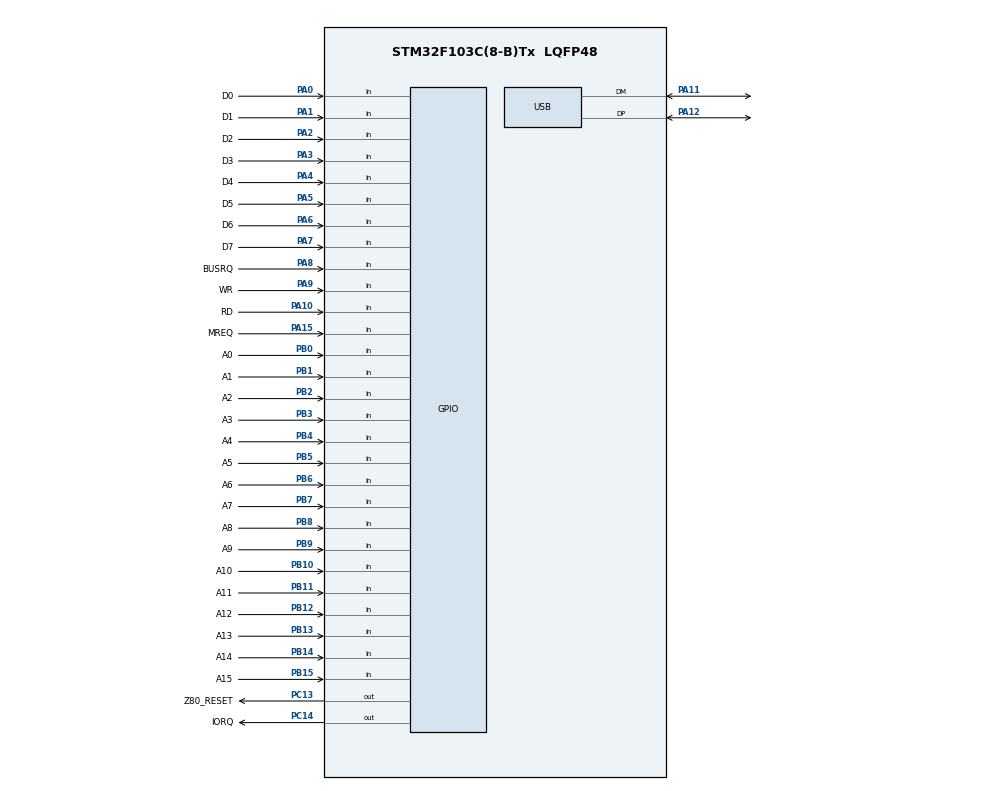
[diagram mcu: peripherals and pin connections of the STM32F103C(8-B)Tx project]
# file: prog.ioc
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Mcu.Family=STM32F1
Mcu.Name=STM32F103C(8-B)Tx
Mcu.Package=LQFP48
NVIC.PriorityGroup=NVIC_PRIORITYGROUP_4
NVIC.USB_LP_CAN1_RX0_IRQn=true\:0\:0\:false\:false\:true\:false\:true\:true
PA0-WKUP.GPIO_Label=D0
PA0-WKUP.Signal=GPIO_Input
PA1.GPIO_Label=D1
PA1.Signal=GPIO_Input
PA10.GPIO_Label=RD
PA10.Signal=GPIO_Input
PA11.Mode=Device
PA11.Signal=USB_DM
PA12.Mode=Device
PA12.Signal=USB_DP
PA13.Mode=Serial_Wire
PA13.Signal=SYS_JTMS-SWDIO
PA14.Mode=Serial_Wire
PA14.Signal=SYS_JTCK-SWCLK
PA15.GPIO_Label=MREQ
PA15.Signal=GPIO_Input
PA2.GPIO_Label=D2
PA2.Signal=GPIO_Input
PA3.GPIO_Label=D3
PA3.Signal=GPIO_Input
PA4.GPIO_Label=D4
PA4.Signal=GPIO_Input
PA5.GPIO_Label=D5
PA5.Signal=GPIO_Input
PA6.GPIO_Label=D6
PA6.Signal=GPIO_Input
PA7.GPIO_Label=D7
PA7.Signal=GPIO_Input
PA8.GPIO_Label=BUSRQ
PA8.Signal=GPIO_Input
PA9.GPIO_Label=WR
PA9.Signal=GPIO_Input
PB0.GPIO_Label=A0
PB0.Signal=GPIO_Input
PB1.GPIO_Label=A1
PB1.Signal=GPIO_Input
PB10.GPIO_Label=A10
PB10.Signal=GPIO_Input
PB11.GPIO_Label=A11
PB11.Signal=GPIO_Input
PB12.GPIO_Label=A12
PB12.Signal=GPIO_Input
PB13.GPIO_Label=A13
PB13.Signal=GPIO_Input
PB14.GPIO_Label=A14
PB14.Signal=GPIO_Input
PB15.GPIO_Label=A15
PB15.Signal=GPIO_Input
PB2.GPIO_Label=A2
PB2.Signal=GPIO_Input
PB3.GPIO_Label=A3
PB3.Signal=GPIO_Input
PB4.GPIO_Label=A4
PB4.Signal=GPIO_Input
PB5.GPIO_Label=A5
PB5.Signal=GPIO_Input
PB6.GPIO_Label=A6
PB6.Signal=GPIO_Input
PB7.GPIO_Label=A7
PB7.Signal=GPIO_Input
PB8.GPIO_Label=A8
PB8.Signal=GPIO_Input
PB9.GPIO_Label=A9
PB9.Signal=GPIO_Input
PC13-TAMPER-RTC.GPIO_Label=Z80_RESET
PC13-TAMPER-RTC.GPIO_ModeDefaultOutputPP=GPIO_MODE_OUTPUT_PP
PC13-TAMPER-RTC.GPIO_PuPd=GPIO_NOPULL
PC13-TAMPER-RTC.PinState=GPIO_PIN_RESET
PC13-TAMPER-RTC.Signal=GPIO_Output
PC14-OSC32_IN.GPIO_Label=IORQ
PC14-OSC32_IN.Signal=GPIO_Output
PD0-OSC_IN.Mode=HSE-External-Oscillator
PD0-OSC_IN.Signal=RCC_OSC_IN
PD1-OSC_OUT.Mode=HSE-External-Oscillator
PD1-OSC_OUT.Signal=RCC_OSC_OUT
ProjectManager.HeapSize=0x400
ProjectManager.StackSize=0x800
ProjectManager.TargetToolchain=Makefile
RCC.AHBFreq_Value=72000000
RCC.APB1CLKDivider=RCC_HCLK_DIV2
RCC.APB1Freq_Value=36000000
RCC.APB1TimFreq_Value=72000000
RCC.APB2Freq_Value=72000000
RCC.APB2TimFreq_Value=72000000
RCC.HCLKFreq_Value=72000000
RCC.PLLMUL=RCC_PLL_MUL9
RCC.PLLSourceVirtual=RCC_PLLSOURCE_HSE
RCC.SYSCLKFreq_VALUE=72000000
RCC.SYSCLKSource=RCC_SYSCLKSOURCE_PLLCLK
RCC.USBFreq_Value=48000000
RCC.USBPrescaler=RCC_USBCLKSOURCE_PLL_DIV1_5
USB_DEVICE.CLASS_NAME_FS=CDC
USB_DEVICE.MANUFACTURER_STRING=Z80 RAW Memory
USB_DEVICE.VirtualMode=Cdc
USB_DEVICE.VirtualModeFS=Cdc_FS
VP_USB_DEVICE_VS_USB_DEVICE_CDC_FS.Mode=CDC_FS
board=custom

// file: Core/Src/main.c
/* USER CODE BEGIN Header */
/**
  ******************************************************************************
  * @file           : main.c
  * @brief          : Main program body
  ******************************************************************************
  * @attention
  *
  * Copyright (c) 2023 STMicroelectronics.
  * All rights reserved.
  *
  * This software is licensed under terms that can be found in the LICENSE file
  * in the root directory of this software component.
  * If no LICENSE file comes with this software, it is provided AS-IS.
  *
  ******************************************************************************
  */
/* USER CODE END Header */
#include "main.h"
#include "usb_device.h"
#include "gpio.h"

/* USER CODE BEGIN Includes */
#include <stdio.h>
#include "retarget.h"
#include "z80_ram.h"
#include "z80_ram_rw.h"
#include "prog.h"
#include "usbd_cdc_if.h"
/* USER CODE END Includes */

/* USER CODE BEGIN PV */
uint8_t rx1[2];
uint8_t control_cmd;
void control(uint8_t cmd);
/* USER CODE END PV */

void SystemClock_Config(void);

int main(void)
{

  /* MCU Configuration--------------------------------------------------------*/

  /* Reset of all peripherals, Initializes the Flash interface and the Systick. */
  HAL_Init();

  /* Configure the system clock */
  SystemClock_Config();

  /* Initialize all configured peripherals */
  MX_GPIO_Init();
  MX_USB_DEVICE_Init();
  /* USER CODE BEGIN 2 */
  HAL_Delay(10);
  //HAL_UART_Receive_DMA(&huart1, (uint8_t*)rx1, sizeof(rx1));
  prog_out = CDC_Transmit_FS;
  printf("Prog start\r\n");
  /* USER CODE END 2 */

  /* Infinite loop */
  /* USER CODE BEGIN WHILE */
  while (1)
  {
    for(int n = 0; n<655350; n++) asm("NOP");
    if(control_cmd != 0) control(control_cmd);
    //printf_flush();
    /* USER CODE END WHILE */

  }
}

void SystemClock_Config(void)
{
  LL_FLASH_SetLatency(LL_FLASH_LATENCY_2);
  while(LL_FLASH_GetLatency()!= LL_FLASH_LATENCY_2)
  {
  }
  LL_RCC_HSE_Enable();

   /* Wait till HSE is ready */
  while(LL_RCC_HSE_IsReady() != 1)
  {

  }
  LL_RCC_PLL_ConfigDomain_SYS(LL_RCC_PLLSOURCE_HSE_DIV_1, LL_RCC_PLL_MUL_9);
  LL_RCC_PLL_Enable();

   /* Wait till PLL is ready */
  while(LL_RCC_PLL_IsReady() != 1)
  {

  }
  LL_RCC_SetAHBPrescaler(LL_RCC_SYSCLK_DIV_1);
  LL_RCC_SetAPB1Prescaler(LL_RCC_APB1_DIV_2);
  LL_RCC_SetAPB2Prescaler(LL_RCC_APB2_DIV_1);
  LL_RCC_SetSysClkSource(LL_RCC_SYS_CLKSOURCE_PLL);

   /* Wait till System clock is ready */
  while(LL_RCC_GetSysClkSource() != LL_RCC_SYS_CLKSOURCE_STATUS_PLL)
  {

  }
  LL_SetSystemCoreClock(72000000);

   /* Update the time base */
  if (HAL_InitTick (TICK_INT_PRIORITY) != HAL_OK)
  {
    Error_Handler();
  }
  LL_RCC_SetUSBClockSource(LL_RCC_USB_CLKSOURCE_PLL_DIV_1_5);
}

/* USER CODE BEGIN 4 */
uint8_t block_read_buf[512] = {0};
void case_help(void);
void case_help(void) {
  printf("\
  h - tsis help message\r\n\
  i - init pins to work, z80 stopped\r\n\
  d - deinit pins to work z80 run\r\n\
  r - read\r\n\
  w - write\r\n\
  t - ram test\r\n\
  e - ram erase\r\n\
  b - block read\r\n\
  z - z80_cpu_reset\r\n\
  \r\n");
}
void control(uint8_t cmd) {

  // control cmd
  switch (cmd) {
    case 'i': z80_cpu_suspend(); break;
    case 'd': z80_cpu_resume(); break;
    case 'r': z80_ram_read_test(); break;
    case 'w': z80_ram_write_test(); break;
    case 't': z80_ram_test(); break;
    case 'e': z80_ram_erase_all(); break;
    case 'b': z80_ram_read_block(block_read_buf, 0, 32U) ; break;
    case 'z': z80_cpu_reset(); break;

    default: printf("Unknown cmd\r\n"); break;
  }
  control_cmd = 0;
}
/*
void (*uart_rx_callback)(uint8_t) = control;
void HAL_UART_RxCpltCallback(UART_HandleTypeDef *huart)
{
  if (huart->Instance == USART1) {
    uart_rx_callback(rx1[1]);
  }
}

void HAL_UART_RxHalfCpltCallback(UART_HandleTypeDef *huart)
{
  if (huart->Instance == USART1) {
    uart_rx_callback(rx1[0]);
  }
}
*/
/* USER CODE END 4 */

void Error_Handler(void)
{
  __disable_irq();
  while (1)
  {
  }
}
